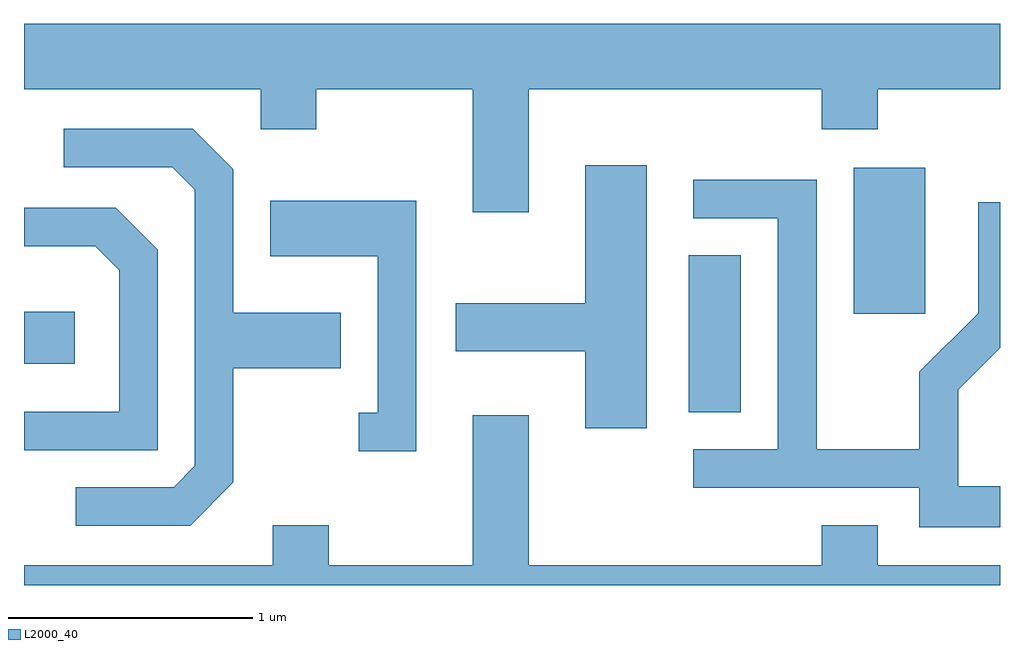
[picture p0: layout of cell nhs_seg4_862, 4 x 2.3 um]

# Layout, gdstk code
import gdstk
lib = gdstk.Library(unit=1e-6, precision=1e-09)
def R(c, l, rs):  # rectangles x0, y0, x1, y1
    for r in rs: c.add(gdstk.rectangle(r[:2], r[2:], *l))
def P(c, l, *ps):  # polygons
    for p in ps: c.add(gdstk.Polygon(p, *l))
L2000_40 = (2000, 40)

nhs_seg4_862 = lib.new_cell('nhs_seg4_862')
R(nhs_seg4_862, L2000_40, [(212.336,1346.691,212.549,1347.334), (209.611,1346.891,209.819,1347.104), (213.011,1347.096,213.304,1347.694)])
P(nhs_seg4_862, L2000_40, [(211.679,1348.016),(212.881,1348.016),(212.881,1347.851),(213.109,1347.851),(213.109,1348.016),(213.611,1348.016),(213.611,1348.284),(209.611,1348.284),(209.611,1348.016),(210.581,1348.016),(210.581,1347.851),(210.809,1347.851),(210.809,1348.016),(211.451,1348.016),(211.451,1347.511),(211.679,1347.511)],
  [(210.469,1346.404),(210.469,1346.871),(210.909,1346.871),(210.909,1347.099),(210.469,1347.099),(210.469,1347.687),(210.302,1347.854),(209.773,1347.854),(209.773,1347.696),(210.219,1347.696),(210.311,1347.604),(210.311,1346.472),(210.224,1346.384),(209.823,1346.384),(209.823,1346.226),(210.292,1346.226)],
  [(212.164,1347.704),(211.911,1347.704),(211.911,1347.139),(211.381,1347.139),(211.381,1346.941),(211.911,1346.941),(211.911,1346.626),(212.164,1346.626)],
  [(213.611,1346.389),(213.439,1346.389),(213.439,1346.784),(213.611,1346.956),(213.611,1347.553),(213.521,1347.553),(213.521,1347.097),(213.281,1346.857),(213.281,1346.539),(212.859,1346.539),(212.859,1347.644),(212.353,1347.644),(212.353,1347.486),(212.701,1347.486),(212.701,1346.539),(212.353,1346.539),(212.353,1346.381),(213.281,1346.381),(213.281,1346.221),(213.611,1346.221)],
  [(211.219,1347.559),(210.621,1347.559),(210.621,1347.331),(211.061,1347.331),(211.061,1346.689),(210.983,1346.689),(210.983,1346.531),(211.219,1346.531)],
  [(210.159,1347.357),(209.987,1347.529),(209.611,1347.529),(209.611,1347.371),(209.904,1347.371),(210.001,1347.274),(210.001,1346.694),(209.611,1346.694),(209.611,1346.536),(210.159,1346.536)],
  [(213.611,1346.064),(213.109,1346.064),(213.109,1346.229),(212.881,1346.229),(212.881,1346.064),(211.679,1346.064),(211.679,1346.679),(211.451,1346.679),(211.451,1346.064),(210.859,1346.064),(210.859,1346.229),(210.631,1346.229),(210.631,1346.064),(209.611,1346.064),(209.611,1345.982),(213.611,1345.982)])

lib.write_gds('nhs_seg4_862.gds')
